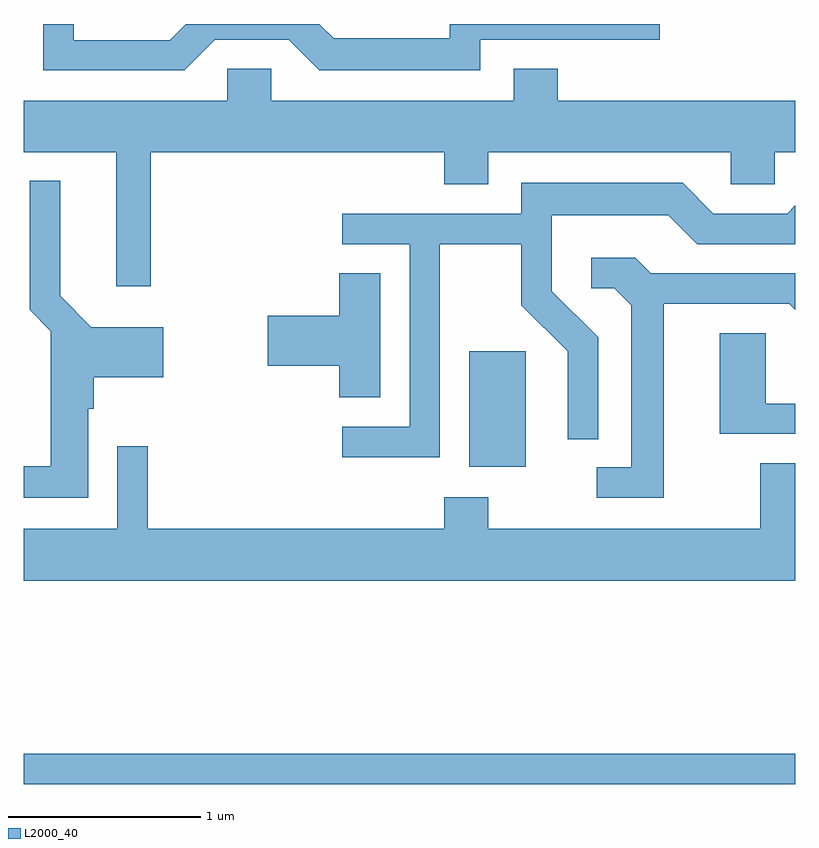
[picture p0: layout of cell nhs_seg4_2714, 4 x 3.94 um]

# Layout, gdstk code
import gdstk
lib = gdstk.Library(unit=1e-6, precision=1e-09)
def R(c, l, rs):  # rectangles x0, y0, x1, y1
    for r in rs: c.add(gdstk.rectangle(r[:2], r[2:], *l))
def P(c, l, *ps):  # polygons
    for p in ps: c.add(gdstk.Polygon(p, *l))
L2000_40 = (2000, 40)

nhs_seg4_2714 = lib.new_cell('nhs_seg4_2714')
R(nhs_seg4_2714, L2000_40, [(263.611,1378.041,267.611,1378.199), (265.921,1379.686,266.214,1380.284)])
P(nhs_seg4_2714, L2000_40, [(264.602,1381.901),(264.984,1381.901),(265.144,1381.741),(265.979,1381.741),(265.979,1381.901),(266.908,1381.901),(266.908,1381.982),(265.821,1381.982),(265.821,1381.909),(265.217,1381.909),(265.144,1381.982),(264.452,1381.982),(264.369,1381.899),(263.869,1381.899),(263.869,1381.982),(263.711,1381.982),(263.711,1381.741),(264.442,1381.741)],
  [(264.269,1381.316),(265.791,1381.316),(265.791,1381.151),(266.019,1381.151),(266.019,1381.316),(267.276,1381.316),(267.276,1381.151),(267.504,1381.151),(267.504,1381.316),(267.611,1381.316),(267.611,1381.584),(266.379,1381.584),(266.379,1381.749),(266.151,1381.749),(266.151,1381.584),(264.894,1381.584),(264.894,1381.749),(264.666,1381.749),(264.666,1381.584),(263.611,1381.584),(263.611,1381.316),(264.091,1381.316),(264.091,1380.621),(264.269,1380.621)],
  [(263.944,1379.986),(263.974,1379.986),(263.974,1380.151),(264.334,1380.151),(264.334,1380.409),(263.962,1380.409),(263.799,1380.572),(263.799,1381.168),(263.641,1381.168),(263.641,1380.499),(263.751,1380.389),(263.751,1379.689),(263.611,1379.689),(263.611,1379.526),(263.944,1379.526)],
  [(265.769,1380.841),(266.191,1380.841),(266.191,1380.524),(266.431,1380.284),(266.431,1379.828),(266.589,1379.828),(266.589,1380.357),(266.349,1380.597),(266.349,1380.991),(266.954,1380.991),(267.104,1380.841),(267.611,1380.841),(267.611,1381.041),(267.569,1380.999),(267.187,1380.999),(267.027,1381.159),(266.191,1381.159),(266.191,1380.999),(265.263,1380.999),(265.263,1380.841),(265.611,1380.841),(265.611,1379.894),(265.263,1379.894),(265.263,1379.736),(265.769,1379.736)],
  [(266.929,1380.531),(267.579,1380.531),(267.611,1380.499),(267.611,1380.689),(266.862,1380.689),(266.782,1380.769),(266.553,1380.769),(266.553,1380.611),(266.674,1380.611),(266.761,1380.524),(266.761,1379.684),(266.583,1379.684),(266.583,1379.526),(266.929,1379.526)],
  [(265.459,1380.689),(265.246,1380.689),(265.246,1380.469),(264.876,1380.469),(264.876,1380.211),(265.246,1380.211),(265.246,1380.046),(265.459,1380.046)],
  [(267.611,1380.014),(267.459,1380.014),(267.459,1380.379),(267.221,1380.379),(267.221,1379.856),(267.611,1379.856)],
  [(267.611,1379.704),(267.431,1379.704),(267.431,1379.364),(266.019,1379.364),(266.019,1379.529),(265.791,1379.529),(265.791,1379.364),(264.254,1379.364),(264.254,1379.793),(264.096,1379.793),(264.096,1379.364),(263.611,1379.364),(263.611,1379.096),(267.611,1379.096)])

lib.write_gds('nhs_seg4_2714.gds')
